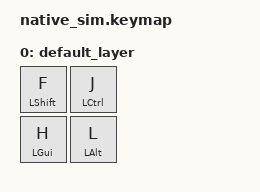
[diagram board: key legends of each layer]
#include <dt-bindings/zmk/keys.h>
#include <behaviors.dtsi>
#include <dt-bindings/zmk/input_mock.h>

/ {
    behaviors {
        ht_bal: behavior_hold_tap_balanced {
            compatible = "zmk,behavior-hold-tap";
            #binding-cells = <2>;
            flavor = "balanced";
            tapping-term-ms = <300>;
            bindings = <&kp>, <&kp>;
        };
    };

    keymap {
        compatible = "zmk,keymap";

        default_layer {
            bindings = <
                &ht_bal LEFT_SHIFT F &ht_bal LEFT_CONTROL J
                &ht_bal LEFT_GUI H &ht_bal LEFT_ALT L
            >;
        };
    };
};

&mock_input {
    events = <
        ZMK_INPUT_MOCK_PRESS(0,0,100)
        ZMK_INPUT_MOCK_PRESS(0,1,100)
        ZMK_INPUT_MOCK_PRESS(1,0,100)
        ZMK_INPUT_MOCK_PRESS(1,1,100)
        ZMK_INPUT_MOCK_RELEASE(0,0,100)
        ZMK_INPUT_MOCK_RELEASE(0,1,100)
        ZMK_INPUT_MOCK_RELEASE(1,0,100)
        ZMK_INPUT_MOCK_RELEASE(1,1,100)
    >;
};
